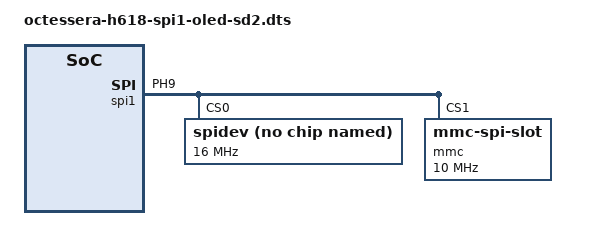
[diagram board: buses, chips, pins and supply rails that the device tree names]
/dts-v1/;
/plugin/;

&pio {
    spi1_cs1_pin: spi1-cs1-pin {
        pins = "PH9";
        function = "spi1";
    };
};

&spi1 {
    #address-cells = <1>;
    #size-cells = <0>;
    pinctrl-names = "default";
    pinctrl-0 = <&spi1_pins &spi1_cs0_pin &spi1_cs1_pin>;
    status = "okay";

    spidev@0 {
        compatible = "rohm,dh2228fv";
        reg = <0>;
        spi-max-frequency = <16000000>;
    };

    mmc@1 {
        compatible = "mmc-spi-slot";
        reg = <1>;
        spi-max-frequency = <10000000>;
        voltage-ranges = <3300 3300>;
    };
};
